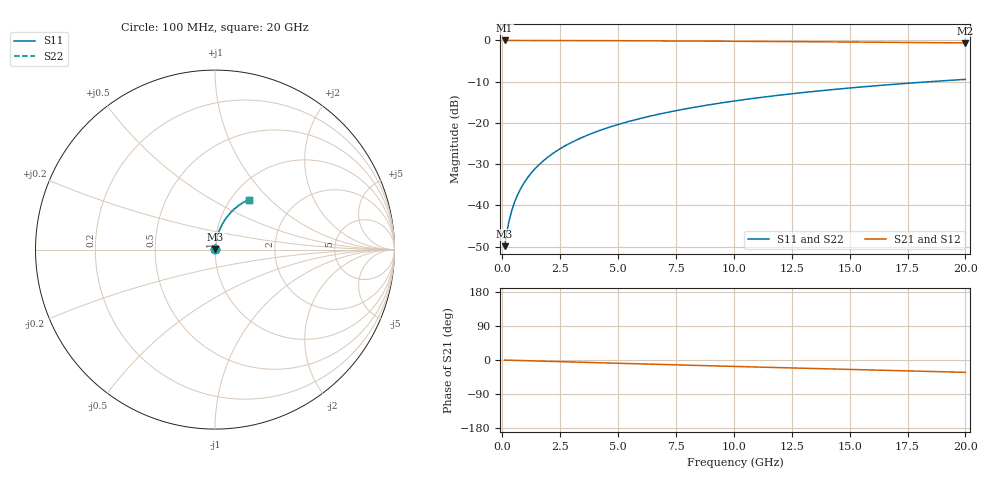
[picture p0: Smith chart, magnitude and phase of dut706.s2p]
! Touchstone file exported from HFSS 2026.1.0
!  File:  C:/ffzhzh/LocalFiles/Ansys_Project_Files/temp_train_TMRDL_706_1783154528_18472.aedt
!  Generated:  04:43:24 PM Jul  4, 2026
!  Design:  TMRDL
!  Project:  temp_train_TMRDL_706_1783154528_18472
! Variables:
!  h_bsmrdl = 2um
!  h_ox = 20um
!  h_rdl = 5um
!  h_sub = 80um
!  h_tmrdl = 4.59um
!  h_tsv = 80um
!  h_via = 3um
!  l_bsmrdl = 300um
!  l_sub = 846.05um
!  l_tmrdl = 446.05um
!  m_sub = 200um
!  pitch = 41.64um
!  r_tsv = 6um
!  s_tmrdl = 10um
!  w_bsmrdl = 18um
!  w_sub = 500um
!  w_tmrdl = 14.64um
!  x_tsv_center1 = 453.37um
!  x_tsv_center2 = 771.37um
!  x_tsv_center3 = 1232.06um
!  x_tsv_center4 = 1550.06um
!  x_tsv_center5 = 2010.75um
!  x_tsv_center6 = 2328.75um
# GHz S MA R 50.000000
! Terminal data exported
! Port[1] = TM_RDL1_1_T1
! Port[2] = TM_RDL1_1_T2
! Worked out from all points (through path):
!   200 points, 100 MHz to 20 GHz, reference 50 ohm
!   highest |S21| = -0.02 dB at 100 MHz (marker M1); lowest = -0.6 dB at 20 GHz (marker M2)
!   group delay of S21, straight-line fit = 4.52 ps
!   lowest |S11| = -49.9 dB at 100 MHz (marker M3), VSWR 1.01, Z = 50.2 + j0.207 ohm
!   |S11| at or under -10 dB: start of sweep to 18.49 GHz
!   |S22| runs from -49.9 to -9.4 dB; largest |S21 - S12| = 3.1e-15
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0.1  0.003209 39.9  0.9975 -0.2  0.9975 -0.2  0.003209 39.9
! Gamma 0 0 0 0
! Port Impedance 50 0 50 0
0.2  0.004815 58.0  0.9975 -0.4  0.9975 -0.4  0.004815 58.0
0.3  0.006632 66.3  0.9974 -0.5  0.9974 -0.5  0.006632 66.3
0.4  0.008502 70.9  0.9973 -0.7  0.9973 -0.7  0.008501 70.9
0.5  0.01039 73.7  0.9972 -0.9  0.9972 -0.9  0.01039 73.7
0.6  0.01228 75.7  0.9971 -1.1  0.9971 -1.1  0.01228 75.7
0.8  0.01609 78.2  0.997 -1.4  0.997 -1.4  0.01609 78.2
1.1  0.02183 80.1  0.9968 -1.9  0.9968 -1.9  0.02183 80.1
1.5  0.02951 81.2  0.9965 -2.6  0.9965 -2.6  0.02951 81.2
1.8  0.03527 81.5  0.9962 -3.2  0.9962 -3.2  0.03527 81.5
2.1  0.04103 81.6  0.9958 -3.7  0.9958 -3.7  0.04103 81.6
2.7  0.0525 81.3  0.995 -4.7  0.995 -4.7  0.0525 81.3
3.5  0.06766 80.4  0.9936 -6.1  0.9936 -6.1  0.06766 80.4
4.2  0.08079 79.5  0.9922 -7.3  0.9922 -7.3  0.08079 79.5
5  0.09561 78.4  0.9904 -8.7  0.9904 -8.7  0.09561 78.4
5.9  0.1121 77.0  0.9882 -10.2  0.9882 -10.2  0.1121 77.0
6.8  0.1283 75.6  0.9857 -11.7  0.9857 -11.7  0.1283 75.6
8.3  0.1548 73.3  0.9812 -14.2  0.9812 -14.2  0.1548 73.3
10.1  0.1857 70.6  0.9751 -17.1  0.9751 -17.1  0.1857 70.6
13.4  0.2398 65.5  0.9623 -22.4  0.9623 -22.4  0.2398 65.5
16.7  0.2904 60.6  0.9476 -27.6  0.9476 -27.6  0.2904 60.6
20  0.337 55.8  0.9316 -32.6  0.9316 -32.6  0.337 55.8
